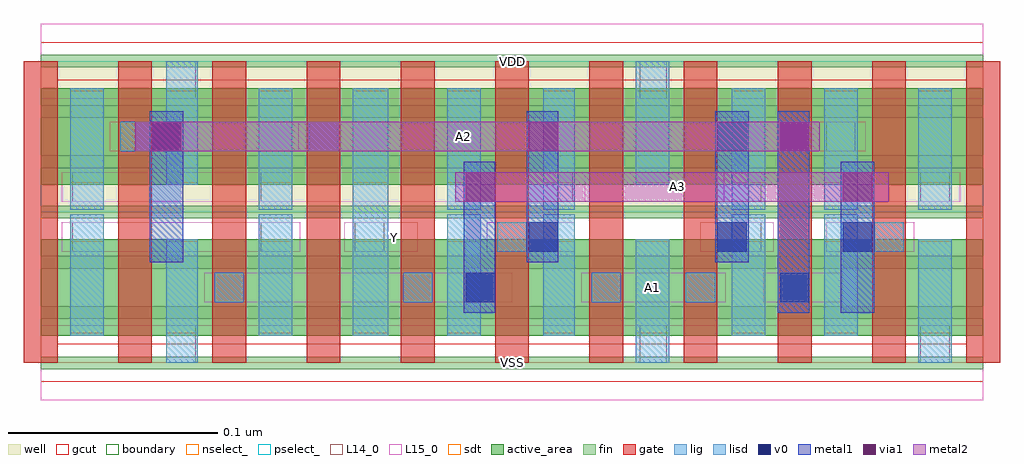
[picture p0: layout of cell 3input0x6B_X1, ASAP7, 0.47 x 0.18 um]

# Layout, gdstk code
import gdstk
lib = gdstk.Library(unit=1e-6, precision=1e-09)
def R(c, l, rs):  # rectangles x0, y0, x1, y1
    for r in rs: c.add(gdstk.rectangle(r[:2], r[2:], *l))
def A(c, l, x, y, w, h, nx, ny, dx, dy):  # array of equal rectangles
    R(c, l, [(x+i*dx, y+j*dy, x+i*dx+w, y+j*dy+h) for i in range(nx) for j in range(ny)])
def P(c, l, *ps):  # polygons
    for p in ps: c.add(gdstk.Polygon(p, *l))
well = (1, 0)
fin = (2, 0)
gate = (7, 0)
gcut = (10, 0)
active_area = (11, 0)
nselect_ = (12, 0)
pselect_ = (13, 0)
L14_0 = (14, 0)
L15_0 = (15, 0)
lig = (16, 0)
lisd = (17, 0)
v0 = (18, 0)
metal1 = (19, 0)
metal2 = (20, 0)
via1 = (21, 0)
sdt = (88, 0)
boundary = (100, 0)

c_3input0x6b_x1 = lib.new_cell('3input0x6B_X1')
R(c_3input0x6b_x1, well, [(0,0.072,0.45,0.144)])
A(c_3input0x6b_x1, fin, 0, -0.003, 0.45, 0.006, 1, 7, 0, 0.024)
A(c_3input0x6b_x1, gate, -0.008, 0, 0.016, 0.144, 11, 1, 0.045, 0)
P(c_3input0x6b_x1, gcut, [(0,-0.009),(0,0),(-0.008,0),(-0.008,0.135),(0.008,0.135),(0.008,0.009),(0.442,0.009),(0.442,0.135),(-0.008,0.135),(-0.008,0.144),(0,0.144),(0,0.153),(0.45,0.153),(0.45,0.144),(0.458,0.144),(0.458,0),(0.45,0),(0.45,-0.009)])
R(c_3input0x6b_x1, active_area, [(0,0.013,0.45,0.059), (0,0.085,0.45,0.131)])
R(c_3input0x6b_x1, nselect_, [(0,0,0.45,0.072)])
R(c_3input0x6b_x1, pselect_, [(0,0.072,0.45,0.144)])
A(c_3input0x6b_x1, L14_0, 0.083, 0.029, 0.014, 0.014, 3, 1, 0.09, 0)
A(c_3input0x6b_x1, L14_0, 0.24, 0.077, 0.014, 0.014, 3, 1, 0.09, 0)
R(c_3input0x6b_x1, L14_0, [(0.06,0,0.074,0.018), (0.286,0,0.299,0.018), (0.42,0,0.434,0.018), (0.308,0.029,0.322,0.043), (0.353,0.029,0.367,0.043), (0.015,0.053,0.03,0.067), (0.105,0.053,0.12,0.067), (0.15,0.053,0.164,0.067), (0.218,0.053,0.232,0.067), (0.33,0.053,0.344,0.067), (0.398,0.053,0.412,0.067), (0.015,0.077,0.03,0.091), (0.105,0.077,0.12,0.091), (0.038,0.101,0.052,0.115), (0.128,0.101,0.142,0.115), (0.375,0.101,0.389,0.115), (0.06,0.126,0.074,0.144), (0.286,0.126,0.299,0.144)])
R(c_3input0x6b_x1, L15_0, [(0,-0.018,0.45,0.018), (0.078,0.029,0.225,0.043), (0.258,0.029,0.327,0.043), (0.345,0.029,0.382,0.043), (0.01,0.053,0.124,0.067), (0.145,0.053,0.18,0.067), (0.213,0.053,0.255,0.067), (0.315,0.053,0.35,0.067), (0.375,0.053,0.417,0.067), (0.01,0.077,0.26,0.091), (0.326,0.077,0.439,0.091), (0.033,0.101,0.075,0.115), (0.123,0.101,0.394,0.115), (0,0.126,0.45,0.162)])
A(c_3input0x6b_x1, lig, 0.083, 0.029, 0.014, 0.014, 3, 1, 0.09, 0)
R(c_3input0x6b_x1, lig, [(0.308,0.029,0.322,0.043), (0.353,0.029,0.367,0.043), (0.218,0.053,0.232,0.067), (0.398,0.053,0.412,0.067), (0.038,0.101,0.052,0.115), (0.128,0.101,0.142,0.115)])
A(c_3input0x6b_x1, lisd, 0.014, 0.013, 0.016, 0.058, 3, 2, 0.09, 0.06)
R(c_3input0x6b_x1, lisd, [(0.06,0,0.075,0.059), (0.284,0,0.3,0.059), (0.419,0,0.435,0.059), (0.149,0.013,0.166,0.131), (0.24,0.013,0.255,0.071), (0.33,0.013,0.346,0.071), (0.374,0.013,0.39,0.071), (0.24,0.073,0.255,0.131), (0.33,0.073,0.346,0.131), (0.374,0.073,0.39,0.131), (0.419,0.073,0.435,0.131), (0.06,0.085,0.075,0.144), (0.284,0.085,0.3,0.144)])
R(c_3input0x6b_x1, v0, [(0.203,0.029,0.217,0.043), (0.353,0.029,0.367,0.043), (0.233,0.053,0.247,0.067), (0.323,0.053,0.337,0.067), (0.383,0.053,0.397,0.067), (0.053,0.101,0.067,0.115), (0.323,0.101,0.337,0.115)])
R(c_3input0x6b_x1, metal1, [(0.202,0.024,0.217,0.096), (0.352,0.024,0.367,0.12), (0.382,0.024,0.398,0.096), (0.052,0.048,0.068,0.12), (0.232,0.048,0.247,0.12), (0.322,0.048,0.338,0.12)])
R(c_3input0x6b_x1, metal2, [(0.198,0.077,0.405,0.091), (0.045,0.101,0.372,0.115)])
R(c_3input0x6b_x1, via1, [(0.203,0.077,0.217,0.091), (0.383,0.077,0.397,0.091), (0.053,0.101,0.067,0.115), (0.233,0.101,0.247,0.115), (0.353,0.101,0.367,0.115)])
A(c_3input0x6b_x1, sdt, 0.014, 0.014, 0.016, 0.044, 4, 2, 0.09, 0.072)
R(c_3input0x6b_x1, sdt, [(0.06,0.014,0.075,0.058), (0.149,0.014,0.166,0.058), (0.24,0.014,0.255,0.058), (0.33,0.014,0.346,0.058), (0.374,0.014,0.39,0.058), (0.419,0.014,0.435,0.058), (0.06,0.086,0.075,0.13), (0.149,0.086,0.166,0.13), (0.24,0.086,0.255,0.13), (0.33,0.086,0.346,0.13), (0.374,0.086,0.39,0.13), (0.419,0.086,0.435,0.13)])
R(c_3input0x6b_x1, boundary, [(0,0,0.45,0.144)])
c_3input0x6b_x1.add(gdstk.Label('VSS', (0.225,0), layer=15, texttype=251))
c_3input0x6b_x1.add(gdstk.Label('VDD', (0.225,0.144), layer=15, texttype=251))
c_3input0x6b_x1.add(gdstk.Label('A1', (0.292,0.036), layer=15, texttype=251))
c_3input0x6b_x1.add(gdstk.Label('VSS', (0.225,0), layer=15, texttype=251))
c_3input0x6b_x1.add(gdstk.Label('VDD', (0.225,0.144), layer=15, texttype=251))
c_3input0x6b_x1.add(gdstk.Label('VSS', (0.225,0), layer=15, texttype=251))
c_3input0x6b_x1.add(gdstk.Label('VDD', (0.225,0.144), layer=15, texttype=251))
c_3input0x6b_x1.add(gdstk.Label('Y', (0.169,0.06), layer=15, texttype=251))
c_3input0x6b_x1.add(gdstk.Label('VSS', (0.225,0), layer=15, texttype=251))
c_3input0x6b_x1.add(gdstk.Label('VDD', (0.225,0.144), layer=15, texttype=251))
c_3input0x6b_x1.add(gdstk.Label('A3', (0.304,0.084), layer=20, texttype=251))
c_3input0x6b_x1.add(gdstk.Label('A2', (0.202,0.108), layer=20, texttype=251))
c_3input0x6b_x1.add(gdstk.Label('VSS', (0.225,0), layer=3, texttype=251))
c_3input0x6b_x1.add(gdstk.Label('VSS', (0.225,0), layer=3, texttype=251))
c_3input0x6b_x1.add(gdstk.Label('VSS', (0.225,0), layer=3, texttype=251))
c_3input0x6b_x1.add(gdstk.Label('VSS', (0.225,0), layer=3, texttype=251))
c_3input0x6b_x1.add(gdstk.Label('VDD', (0.225,0.144), layer=1, texttype=251))
c_3input0x6b_x1.add(gdstk.Label('VDD', (0.225,0.144), layer=1, texttype=251))
c_3input0x6b_x1.add(gdstk.Label('VDD', (0.225,0.144), layer=1, texttype=251))
c_3input0x6b_x1.add(gdstk.Label('VDD', (0.225,0.144), layer=1, texttype=251))

lib.write_gds('3input0x6B_X1.gds')
